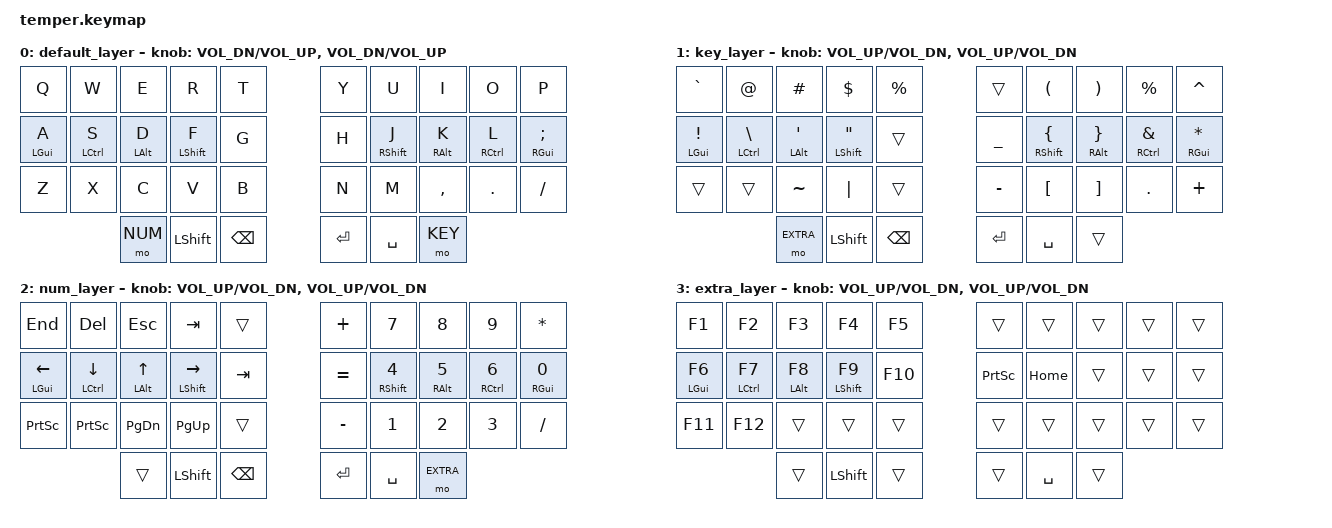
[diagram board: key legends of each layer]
/*
 * Copyright (c) 2020 The ZMK Contributors
 *
 * SPDX-License-Identifier: MIT
 */

#include <behaviors.dtsi>
#include <dt-bindings/zmk/keys.h>
#include <dt-bindings/zmk/bt.h>
#include <dt-bindings/zmk/outputs.h>

#define DEFAULT 0
#define KEY 1
#define NUM 2
#define EXTRA 3

/ {
        

    behaviors {
        bhm: balanced_homerow_mods {
            compatible = "zmk,behavior-hold-tap";
            #binding-cells = <2>;
            tapping-term-ms = <280>;    // <---[[moderate duration]]
            quick-tap-ms = <175>;
            require-prior-idle-ms = <120>;                                                    
            flavor = "balanced";
            hold-trigger-on-release;
            bindings = <&kp>, <&kp>;
        };
      
    };

    sensors {
        compatible = "zmk,keymap-sensors";
        sensors = <&left_encoder &right_encoder>;
    };


        keymap {
                compatible = "zmk,keymap";

                default_layer {
                        bindings = <
                        
// ╭─────────────┬─────────────┬─────────────┬─────────────┬─────────────╮   ╭─────────────┬─────────────┬─────────────┬─────────────┬─────────────╮
        &kp Q         &kp W         &kp E         &kp R         &kp T              &kp Y        &kp U         &kp I         &kp O         &kp P   
// ├─────────────┼─────────────┼─────────────┼─────────────┼─────────────┤   ├─────────────┼─────────────┼─────────────┼─────────────┼─────────────┤
         &bhm LGUI A    &bhm LCTRL S   &bhm LALT D  &bhm LSHFT F  &kp G                &kp H     &bhm RSHFT J      &bhm RALT K   &bhm RCTRL L    &bhm RGUI SEMI
// ├─────────────┼─────────────┼─────────────┼─────────────┼─────────────┤   ├─────────────┼─────────────┼─────────────┼─────────────┼─────────────┤
        &kp Z         &kp X         &kp C         &kp V         &kp B              &kp N        &kp M       &kp COMMA      &kp DOT      &kp FSLH
// ╰─────────────┴─────────────┼─────────────┼─────────────┼─────────────┤   ├─────────────┼─────────────┼─────────────┼─────────────┴─────────────╯
                                    &mo NUM        &kp LSHFT     &kp BSPC          &kp ENTER    &kp SPACE    &mo KEY
//                             ╰─────────────┴─────────────┴─────────────╯   ╰─────────────┴─────────────┴─────────────╯
                        >;
                        sensor-bindings = <&inc_dec_kp C_VOL_DN C_VOL_UP &inc_dec_kp C_VOL_DN C_VOL_UP>;
                };
                key_layer {
                        bindings = <
// ╭─────────────┬─────────────┬─────────────┬─────────────┬─────────────╮   ╭─────────────┬─────────────┬─────────────┬─────────────┬─────────────╮
      &kp GRAVE       &kp AT       &kp HASH    &kp DLLR     &kp PRCNT          &trans        &kp  LPAR    &kp RPAR        &kp PRCNT      &kp CARET
// ├─────────────┼─────────────┼─────────────┼─────────────┼─────────────┤   ├─────────────┼─────────────┼─────────────┼─────────────┼─────────────┤
 &bhm LGUI EXCL &bhm LCTRL BSLH  &bhm LALT APOS &bhm LSHFT DQT    &trans     &kp UNDER     &bhm RSHFT LBRC &bhm RALT RBRC &bhm RCTRL AMPS &bhm RGUI STAR
// ├─────────────┼─────────────┼─────────────┼─────────────┼─────────────┤   ├─────────────┼─────────────┼─────────────┼─────────────┼─────────────┤
      &trans        &trans       &kp TILDE    &kp PIPE       &trans          &kp MINUS      &kp LBKT        &kp RBKT        &kp DOT      &kp PLUS
// ╰─────────────┴─────────────┼─────────────┼─────────────┼─────────────┤   ├─────────────┼─────────────┼─────────────┼─────────────┴─────────────╯
                                    &mo EXTRA      &kp LSHFT    &kp BSPC        &kp ENTER    &kp SPACE     &trans
//                             ╰─────────────┴─────────────┴─────────────╯   ╰─────────────┴─────────────┴─────────────╯
                        >;
                        sensor-bindings = <&inc_dec_kp C_VOL_UP C_VOL_DN &inc_dec_kp C_VOL_UP C_VOL_DN>;
                };

                num_layer {
                        bindings = <
// ╭─────────────┬─────────────┬─────────────┬─────────────┬─────────────╮   ╭─────────────┬─────────────┬─────────────┬─────────────┬─────────────╮
        &kp END      &kp DEL      &kp ESC       &kp TAB        &trans            &kp PLUS       &kp N7      &kp N8       &kp N9     &kp STAR
// ├─────────────┼─────────────┼─────────────┼─────────────┼─────────────┤   ├─────────────┼─────────────┼─────────────┼─────────────┼─────────────┤
&bhm LGUI LEFT  &bhm LCTRL DOWN  &bhm LALT UP   &bhm LSHFT RIGHT   &kp TAB          &kp EQUAL  &bhm  RSHFT N4    &bhm RALT N5  &bhm RCTRL N6    &bhm RGUI N0
// ├─────────────┼─────────────┼─────────────┼─────────────┼─────────────┤   ├─────────────┼─────────────┼─────────────┼─────────────┼─────────────┤
        &kp PSCRN       &kp PSCRN        &kp PG_DN        &kp PG_UP        &trans         &kp MINUS       &kp N1       &kp N2        &kp N3     &kp FSLH
// ╰─────────────┴─────────────┼─────────────┼─────────────┼─────────────┤   ├─────────────┼─────────────┼─────────────┼─────────────┴─────────────╯
                                    &trans        &kp LSHFT        &kp BSPC          &kp ENTER     &kp SPACE      &mo EXTRA
//                             ╰─────────────┴─────────────┴─────────────╯   ╰─────────────┴─────────────┴─────────────╯
                        >;
                        sensor-bindings = <&inc_dec_kp C_VOL_UP C_VOL_DN &inc_dec_kp C_VOL_UP C_VOL_DN>;
                };

                 extra_layer {
                        bindings = <
// ╭─────────────┬─────────────┬─────────────┬─────────────┬─────────────╮   ╭─────────────┬─────────────┬─────────────┬─────────────┬─────────────╮
        &kp F1        &kp F2        &kp F3        &kp F4        &kp F5            &trans       &trans        &trans        &trans     &trans
// ├─────────────┼─────────────┼─────────────┼─────────────┼─────────────┤   ├─────────────┼─────────────┼─────────────┼─────────────┼─────────────┤
      &bhm LGUI F6  &bhm LCTRL F7 &bhm LALT F8  &bhm LSHFT F9   &kp F10          &kp PSCRN      &kp HOME       &trans         &trans      &trans
// ├─────────────┼─────────────┼─────────────┼─────────────┼─────────────┤   ├─────────────┼─────────────┼─────────────┼─────────────┼─────────────┤
        &kp F11       &kp F12        &trans        &trans        &trans            &trans        &trans    &trans        &trans       &trans
// ╰─────────────┴─────────────┼─────────────┼─────────────┼─────────────┤   ├─────────────┼─────────────┼─────────────┼─────────────┴─────────────╯
                                    &trans        &kp LSHFT        &trans            &trans        &kp SPACE        &trans
//                             ╰─────────────┴─────────────┴─────────────╯   ╰─────────────┴─────────────┴─────────────╯
                        >;
                        sensor-bindings = <&inc_dec_kp C_VOL_UP C_VOL_DN &inc_dec_kp C_VOL_UP C_VOL_DN>;
                };

                
        };
};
